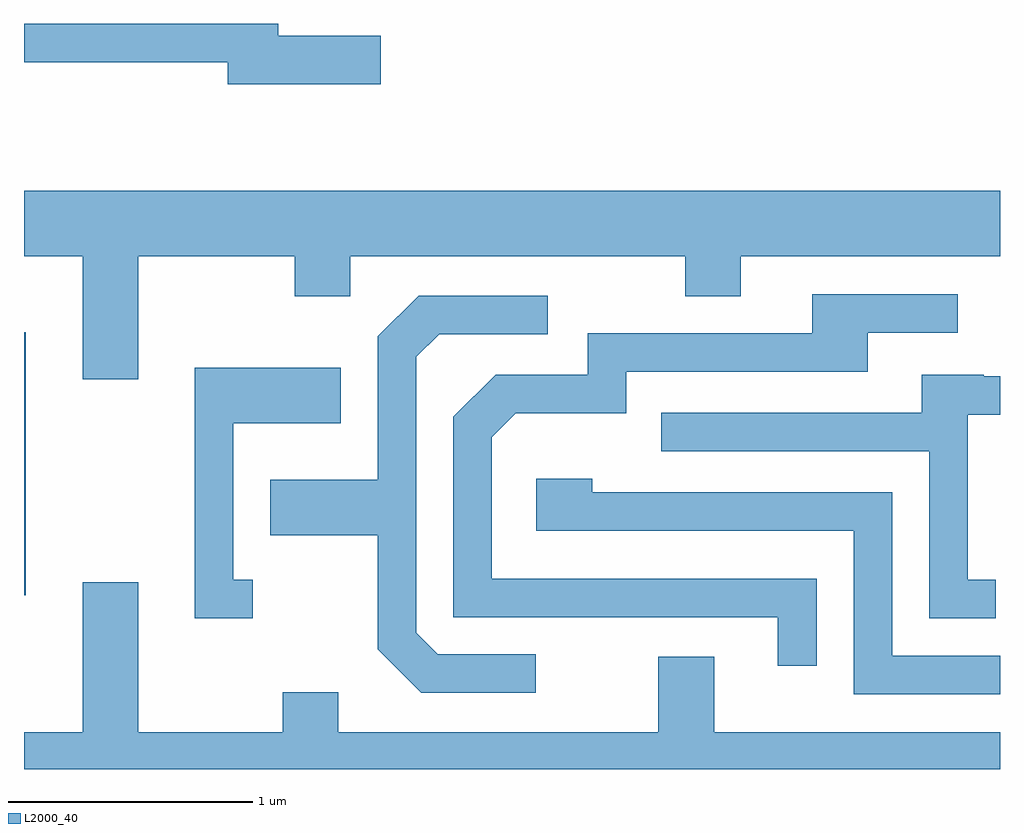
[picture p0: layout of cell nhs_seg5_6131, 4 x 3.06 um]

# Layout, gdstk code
import gdstk
lib = gdstk.Library(unit=1e-6, precision=1e-09)
def R(c, l, rs):  # rectangles x0, y0, x1, y1
    for r in rs: c.add(gdstk.rectangle(r[:2], r[2:], *l))
def P(c, l, *ps):  # polygons
    for p in ps: c.add(gdstk.Polygon(p, *l))
L2000_40 = (2000, 40)

nhs_seg5_6131 = lib.new_cell('nhs_seg5_6131')
R(nhs_seg5_6131, L2000_40, [(367.611,1408.786,367.619,1409.864)])
P(nhs_seg5_6131, L2000_40, [(369.074,1411.079),(368.654,1411.079),(368.654,1411.129),(367.611,1411.129),(367.611,1410.971),(368.446,1410.971),(368.446,1410.881),(369.074,1410.881)],
  [(368.079,1410.176),(368.721,1410.176),(368.721,1410.011),(368.949,1410.011),(368.949,1410.176),(370.321,1410.176),(370.321,1410.011),(370.549,1410.011),(370.549,1410.176),(371.611,1410.176),(371.611,1410.444),(367.611,1410.444),(367.611,1410.176),(367.851,1410.176),(367.851,1409.671),(368.079,1409.671)],
  [(370.859,1408.854),(369.529,1408.854),(369.529,1409.434),(369.627,1409.531),(370.079,1409.531),(370.079,1409.701),(371.069,1409.701),(371.069,1409.861),(371.438,1409.861),(371.438,1410.019),(370.841,1410.019),(370.841,1409.859),(369.921,1409.859),(369.921,1409.689),(369.544,1409.689),(369.371,1409.517),(369.371,1408.696),(370.701,1408.696),(370.701,1408.498),(370.859,1408.498)],
  [(369.708,1408.544),(369.307,1408.544),(369.219,1408.632),(369.219,1409.764),(369.312,1409.856),(369.758,1409.856),(369.758,1410.014),(369.229,1410.014),(369.061,1409.847),(369.061,1409.259),(368.621,1409.259),(368.621,1409.031),(369.061,1409.031),(369.061,1408.564),(369.239,1408.386),(369.708,1408.386)],
  [(368.548,1408.849),(368.469,1408.849),(368.469,1409.491),(368.909,1409.491),(368.909,1409.719),(368.311,1409.719),(368.311,1408.691),(368.548,1408.691)],
  [(371.593,1408.849),(371.479,1408.849),(371.479,1409.526),(371.611,1409.526),(371.611,1409.684),(371.545,1409.684),(371.545,1409.689),(371.291,1409.689),(371.291,1409.534),(370.223,1409.534),(370.223,1409.376),(371.321,1409.376),(371.321,1408.691),(371.593,1408.691)],
  [(371.611,1408.539),(371.169,1408.539),(371.169,1409.209),(369.939,1409.209),(369.939,1409.264),(369.711,1409.264),(369.711,1409.051),(371.011,1409.051),(371.011,1408.381),(371.611,1408.381)],
  [(371.611,1408.224),(370.439,1408.224),(370.439,1408.534),(370.211,1408.534),(370.211,1408.224),(368.899,1408.224),(368.899,1408.389),(368.671,1408.389),(368.671,1408.224),(368.079,1408.224),(368.079,1408.839),(367.851,1408.839),(367.851,1408.224),(367.611,1408.224),(367.611,1408.072),(371.611,1408.072)])

lib.write_gds('nhs_seg5_6131.gds')
